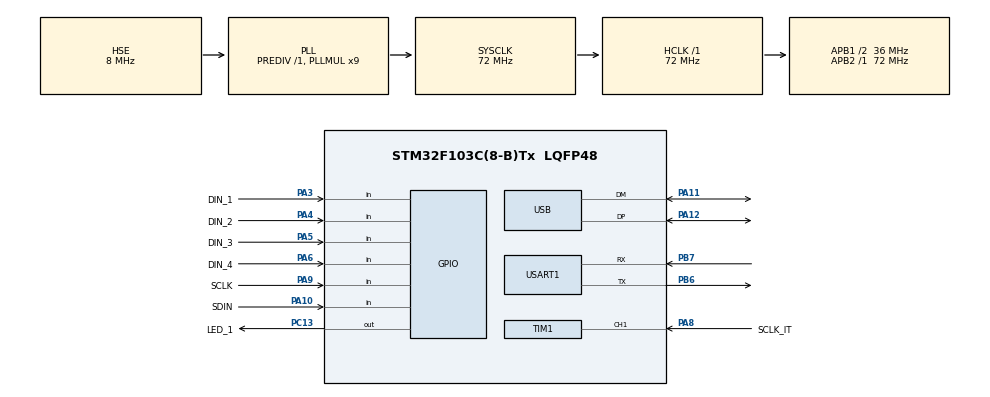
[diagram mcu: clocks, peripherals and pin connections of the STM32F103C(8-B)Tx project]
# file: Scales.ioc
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Dma.Request0=USART1_TX
Dma.Request1=USART1_RX
Dma.USART1_RX.1.Direction=DMA_PERIPH_TO_MEMORY
Dma.USART1_RX.1.Instance=DMA1_Channel5
Dma.USART1_RX.1.MemDataAlignment=DMA_MDATAALIGN_BYTE
Dma.USART1_RX.1.MemInc=DMA_MINC_ENABLE
Dma.USART1_RX.1.Mode=DMA_NORMAL
Dma.USART1_RX.1.PeriphDataAlignment=DMA_PDATAALIGN_BYTE
Dma.USART1_RX.1.PeriphInc=DMA_PINC_DISABLE
Dma.USART1_RX.1.Priority=DMA_PRIORITY_LOW
Dma.USART1_TX.0.Direction=DMA_MEMORY_TO_PERIPH
Dma.USART1_TX.0.Instance=DMA1_Channel4
Dma.USART1_TX.0.MemDataAlignment=DMA_MDATAALIGN_BYTE
Dma.USART1_TX.0.MemInc=DMA_MINC_ENABLE
Dma.USART1_TX.0.Mode=DMA_NORMAL
Dma.USART1_TX.0.PeriphDataAlignment=DMA_PDATAALIGN_BYTE
Dma.USART1_TX.0.PeriphInc=DMA_PINC_DISABLE
Dma.USART1_TX.0.Priority=DMA_PRIORITY_LOW
Mcu.Family=STM32F1
Mcu.Name=STM32F103C(8-B)Tx
Mcu.Package=LQFP48
NVIC.DMA1_Channel4_IRQn=true\:0\:0\:false\:false\:true\:false\:true\:true
NVIC.DMA1_Channel5_IRQn=true\:0\:0\:false\:false\:true\:false\:true\:true
NVIC.PriorityGroup=NVIC_PRIORITYGROUP_4
NVIC.TIM1_UP_IRQn=true\:0\:0\:false\:false\:true\:true\:true\:true
NVIC.USART1_IRQn=true\:0\:0\:false\:false\:true\:true\:true\:true
NVIC.USB_LP_CAN1_RX0_IRQn=true\:0\:0\:false\:false\:true\:false\:true\:true
PA10.GPIO_Label=SDIN
PA10.GPIO_PuPd=GPIO_NOPULL
PA10.Signal=GPIO_Input
PA11.Mode=Device
PA11.Signal=USB_DM
PA12.Mode=Device
PA12.Signal=USB_DP
PA13.Mode=Serial_Wire
PA13.Signal=SYS_JTMS-SWDIO
PA14.Mode=Serial_Wire
PA14.Signal=SYS_JTCK-SWCLK
PA3.GPIO_Label=DIN_1
PA3.GPIO_PuPd=GPIO_PULLUP
PA3.Signal=GPIO_Input
PA4.GPIO_Label=DIN_2
PA4.GPIO_PuPd=GPIO_PULLUP
PA4.Signal=GPIO_Input
PA5.GPIO_Label=DIN_3
PA5.GPIO_PuPd=GPIO_PULLUP
PA5.Signal=GPIO_Input
PA6.GPIO_Label=DIN_4
PA6.GPIO_PuPd=GPIO_PULLUP
PA6.Signal=GPIO_Input
PA8.GPIO_Label=SCLK_IT
PA8.GPIO_PuPd=GPIO_NOPULL
PA8.Signal=S_TIM1_CH1
PA9.GPIO_Label=SCLK
PA9.GPIO_PuPd=GPIO_NOPULL
PA9.Signal=GPIO_Input
PB6.Mode=Asynchronous
PB6.Signal=USART1_TX
PB7.Mode=Asynchronous
PB7.Signal=USART1_RX
PC13-TAMPER-RTC.GPIO_Label=LED_1
PC13-TAMPER-RTC.Signal=GPIO_Output
PD0-OSC_IN.Mode=HSE-External-Oscillator
PD0-OSC_IN.Signal=RCC_OSC_IN
PD1-OSC_OUT.Mode=HSE-External-Oscillator
PD1-OSC_OUT.Signal=RCC_OSC_OUT
ProjectManager.HeapSize=0x200
ProjectManager.StackSize=0x400
ProjectManager.TargetToolchain=STM32CubeIDE
RCC.AHBFreq_Value=72000000
RCC.APB1CLKDivider=RCC_HCLK_DIV2
RCC.APB1Freq_Value=36000000
RCC.APB1TimFreq_Value=72000000
RCC.APB2Freq_Value=72000000
RCC.APB2TimFreq_Value=72000000
RCC.HCLKFreq_Value=72000000
RCC.PLLMUL=RCC_PLL_MUL9
RCC.SYSCLKFreq_VALUE=72000000
RCC.SYSCLKSource=RCC_SYSCLKSOURCE_PLLCLK
RCC.USBFreq_Value=48000000
RCC.USBPrescaler=RCC_USBCLKSOURCE_PLL_DIV1_5
SH.S_TIM1_CH1.0=TIM1_CH1,TriggerSource_TI1FP1
TIM1.Period=215
TIM1.Prescaler=0
TIM1.Slave_TriggerFilter=0
TIM1.Slave_TriggerPolarity=TIM_TRIGGERPOLARITY_RISING
USART1.VirtualMode=VM_ASYNC
USB_DEVICE.CLASS_NAME_FS=HID
USB_DEVICE.VirtualMode=Hid
USB_DEVICE.VirtualModeFS=Hid_FS
VP_TIM1_VS_ClockSourceINT.Mode=Internal
VP_TIM1_VS_ControllerModeTrigger.Mode=Trigger Mode
VP_TIM1_VS_OPM.Mode=OPM_bit
VP_USB_DEVICE_VS_USB_DEVICE_HID_FS.Mode=HID_FS
board=custom

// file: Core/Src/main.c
/* USER CODE BEGIN Header */
/**
  ******************************************************************************
  * @file           : main.c
  * @brief          : Main program body
  ******************************************************************************
  * @attention
  *
  * Copyright (c) 2023 STMicroelectronics.
  * All rights reserved.
  *
  * This software is licensed under terms that can be found in the LICENSE file
  * in the root directory of this software component.
  * If no LICENSE file comes with this software, it is provided AS-IS.
  *
  ******************************************************************************
  */
/* USER CODE END Header */
#include "main.h"
#include "dma.h"
#include "tim.h"
#include "usart.h"
#include "usb_device.h"
#include "gpio.h"

/* USER CODE BEGIN Includes */
#include <stdio.h>
#include "hid_keyboard.h"
/* USER CODE END Includes */

/* USER CODE BEGIN PV */
uint8_t data_buff[24];
uint8_t data_nex_bit;
uint8_t data_index;
uint8_t data_byte;
uint8_t data_new;

uint8_t send_buff[32];
uint8_t last_send_buff[32];

uint8_t mass_buff[5];
uint8_t price_buff[5];
uint8_t amount_buff[6];

/* USER CODE END PV */

void SystemClock_Config(void);

/* USER CODE BEGIN 0 */
void HAL_TIM_PeriodElapsedCallback(TIM_HandleTypeDef *htim)
{
	if (htim == &htim1) {
		if ((SCLK_GPIO_Port->IDR & SCLK_Pin) != 0) {
			if (data_index)
				data_new = 1;
			data_index = 0;
			data_nex_bit = 0;
		} else {
			if ((SDIN_GPIO_Port->IDR & SDIN_Pin) != 0)
				data_byte |= (1 << data_nex_bit);
			data_nex_bit++;
			if (data_nex_bit > 7) {
				data_nex_bit = 0;
				data_buff[data_index] = data_byte;
				data_byte = 0;
				data_index++;
			}
		}
	}
}
uint8_t get7sigNum(uint8_t byte)
{
	uint8_t ibyte = byte & 0b11111011;
	if (ibyte == 0b10000001)
		return 1;
	if (ibyte == 0b11101010)
		return 2;
	if (ibyte == 0b11100011)
		return 3;
	if (ibyte == 0b11010001)
		return 4;
	if (ibyte == 0b01110011)
		return 5;
	if (ibyte == 0b01111011)
		return 6;
	if (ibyte == 0b10100001)
		return 7;
	if (ibyte == 0b11111011)
		return 8;
	if (ibyte == 0b11110011)
		return 9;
	if (ibyte == 0b10111011)
		return 0;
	return 0;
}

/* USER CODE END 0 */

int main(void)
{

  /* MCU Configuration--------------------------------------------------------*/

  /* Reset of all peripherals, Initializes the Flash interface and the Systick. */
  HAL_Init();

  /* Configure the system clock */
  SystemClock_Config();

  /* Initialize all configured peripherals */
  MX_GPIO_Init();
  MX_DMA_Init();
  MX_TIM1_Init();
  MX_USART1_UART_Init();
  MX_USB_DEVICE_Init();
  /* USER CODE BEGIN 2 */
  HAL_TIM_Base_Start_IT(&htim1);
  /* USER CODE END 2 */

  /* Infinite loop */
  while (1)
  {

    /* USER CODE BEGIN 3 */
	  if (data_new) {
		HAL_GPIO_TogglePin(LED_1_GPIO_Port, LED_1_Pin);
		data_new = 0;

		mass_buff[0] = get7sigNum(data_buff[1]);
		mass_buff[1] = get7sigNum(data_buff[2]);
		mass_buff[2] = get7sigNum(data_buff[3]);
		mass_buff[3] = get7sigNum(data_buff[4]);
		mass_buff[4] = get7sigNum(data_buff[5]);

		price_buff[0] = get7sigNum(data_buff[6]);
		price_buff[1] = get7sigNum(data_buff[7]);
		price_buff[2] = get7sigNum(data_buff[8]);
		price_buff[3] = get7sigNum(data_buff[9]);
		price_buff[4] = get7sigNum(data_buff[10]);

		amount_buff[0] = get7sigNum(data_buff[11]);
		amount_buff[1] = get7sigNum(data_buff[12]);
		amount_buff[2] = get7sigNum(data_buff[13]);
		amount_buff[3] = get7sigNum(data_buff[14]);
		amount_buff[4] = get7sigNum(data_buff[15]);
		amount_buff[5] = get7sigNum(data_buff[16]);

		sprintf((char *)send_buff, \
				"%d%d,%d%d%d - %d%d%d,%d%d - %d%d%d%d,%d%d\n\r", \
				mass_buff[0], \
				mass_buff[1], \
				mass_buff[2], \
				mass_buff[3], \
				mass_buff[4], \

				price_buff[0], \
				price_buff[1], \
				price_buff[2], \
				price_buff[3], \
				price_buff[4], \

				amount_buff[0], \
				amount_buff[1], \
				amount_buff[2], \
				amount_buff[3], \
				amount_buff[4], \
				amount_buff[5] );

		if (strncmp((const char *)send_buff, (const char *)last_send_buff, 28) != 0) {
			HAL_UART_Transmit(&huart1, send_buff, 28, 1000);
			keyboard_print(send_buff, 28);
			memcpy(last_send_buff, send_buff, sizeof(last_send_buff));
			HAL_Delay(500);
		}
	  }
  }
  /* USER CODE END 3 */
}

void SystemClock_Config(void)
{
  RCC_OscInitTypeDef RCC_OscInitStruct = {0};
  RCC_ClkInitTypeDef RCC_ClkInitStruct = {0};
  RCC_PeriphCLKInitTypeDef PeriphClkInit = {0};

  /** Initializes the RCC Oscillators according to the specified parameters
  * in the RCC_OscInitTypeDef structure.
  */
  RCC_OscInitStruct.OscillatorType = RCC_OSCILLATORTYPE_HSE;
  RCC_OscInitStruct.HSEState = RCC_HSE_ON;
  RCC_OscInitStruct.HSEPredivValue = RCC_HSE_PREDIV_DIV1;
  RCC_OscInitStruct.HSIState = RCC_HSI_ON;
  RCC_OscInitStruct.PLL.PLLState = RCC_PLL_ON;
  RCC_OscInitStruct.PLL.PLLSource = RCC_PLLSOURCE_HSE;
  RCC_OscInitStruct.PLL.PLLMUL = RCC_PLL_MUL9;
  if (HAL_RCC_OscConfig(&RCC_OscInitStruct) != HAL_OK)
  {
    Error_Handler();
  }

  /** Initializes the CPU, AHB and APB buses clocks
  */
  RCC_ClkInitStruct.ClockType = RCC_CLOCKTYPE_HCLK|RCC_CLOCKTYPE_SYSCLK
                              |RCC_CLOCKTYPE_PCLK1|RCC_CLOCKTYPE_PCLK2;
  RCC_ClkInitStruct.SYSCLKSource = RCC_SYSCLKSOURCE_PLLCLK;
  RCC_ClkInitStruct.AHBCLKDivider = RCC_SYSCLK_DIV1;
  RCC_ClkInitStruct.APB1CLKDivider = RCC_HCLK_DIV2;
  RCC_ClkInitStruct.APB2CLKDivider = RCC_HCLK_DIV1;

  if (HAL_RCC_ClockConfig(&RCC_ClkInitStruct, FLASH_LATENCY_2) != HAL_OK)
  {
    Error_Handler();
  }
  PeriphClkInit.PeriphClockSelection = RCC_PERIPHCLK_USB;
  PeriphClkInit.UsbClockSelection = RCC_USBCLKSOURCE_PLL_DIV1_5;
  if (HAL_RCCEx_PeriphCLKConfig(&PeriphClkInit) != HAL_OK)
  {
    Error_Handler();
  }
}

void Error_Handler(void)
{
  __disable_irq();
  while (1)
  {
  }
}
